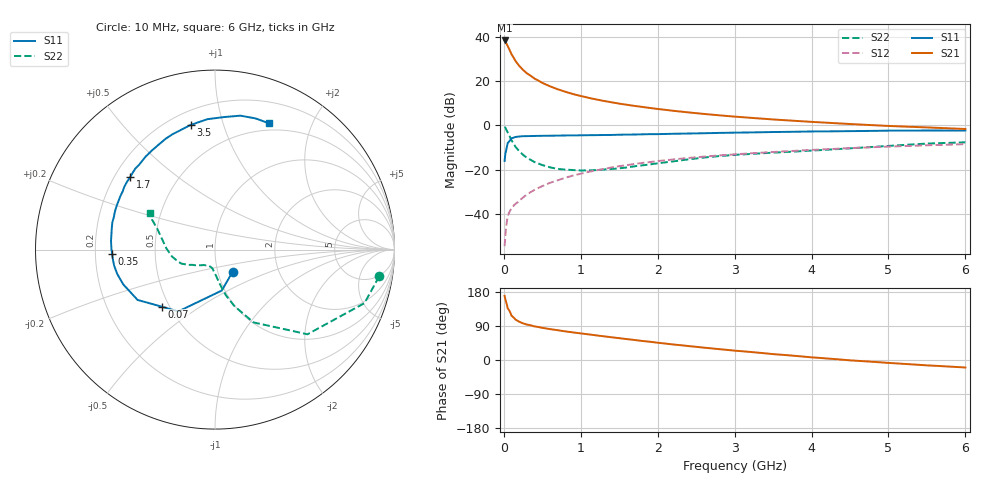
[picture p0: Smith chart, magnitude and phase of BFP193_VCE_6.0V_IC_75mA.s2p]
! Infineon Technologies  Discrete & RF Semiconductors
! BFP193
! VCE =  6.0 V,  IC =  75 mA
! Common Emitter S-Parameters:  Jan 2017
# GHz  S  MA  R  50
!  f  S11  S21  S12  S22
! GHz  MAG  ANG  MAG  ANG  MAG  ANG  MAG  ANG
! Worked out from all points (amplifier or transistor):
!   77 points, 10 MHz to 6 GHz, reference 50 ohm
!   highest |S21| = 38.2 dB at 10 MHz (marker M1)
!   |S21| within 3 dB of that: start of sweep to 57.26 MHz
!   unconditionally stable (mu >= 1): 467.9 MHz to 2.375 GHz
!   at 130 MHz: K = 0.69, MSG = 33.2 dB, |S12| = -36.1 dB
!   at 2.2 GHz: K = 1.01, MAG = 10.4 dB, |S12| = -15.4 dB
!   at 6 GHz: K = 0.92, MSG = 3.4 dB, |S12| = -8.5 dB
!   S11 on the Smith chart (normalised r, x): 10 MHz: 1.18, -0.30; 70 MHz: 0.46, -0.36; 350 MHz: 0.27, -0.02; 1.7 GHz: 0.26, +0.35; 3.5 GHz: 0.28, +0.78; 6 GHz: 0.42, +1.43
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0.01  0.1577 -51.5  81.6 169.3  0.0019 75.6  0.9265 -9.3
0.02  0.2312 -80.6  78.79 159.6  0.0033 77.3  0.8847 -19.7
0.05  0.3999 -120.6  61.2 136.6  0.0089 62.5  0.6985 -42.5
0.07  0.4341 -132.8  51.99 130.6  0.0109 61.8  0.5953 -48.4
0.1  0.5147 -147.0  39.85 116.7  0.0138 61.1  0.4592 -62.1
0.15  0.5466 -159.2  28.36 106.9  0.0169 62.2  0.3321 -71.1
0.2  0.5614 -166.0  21.83 101.0  0.0199 65.0  0.2614 -76.6
0.25  0.5691 -171.0  17.7 96.6  0.0238 66.2  0.2167 -79.9
0.3  0.5716 -174.6  14.83 93.6  0.0276 67.8  0.1851 -83.0
0.35  0.5736 -177.4  13.04 91.4  0.0314 68.8  0.1666 -84.9
0.4  0.5769 179.9  11.27 88.6  0.0353 69.6  0.1484 -87.3
0.5  0.5813 175.3  9.036 84.9  0.0428 70.3  0.1273 -91.4
0.6  0.5834 171.5  7.573 81.5  0.0508 70.2  0.1135 -95.4
0.8  0.5917 165.2  5.701 75.5  0.0662 70.6  0.1009 -101.9
1.1  0.5996 156.2  4.173 67.7  0.0895 67.8  0.097 -112.9
1.7  0.6215 139.6  2.738 52.8  0.1349 60.9  0.1196 -133.1
2.1  0.6395 129.3  2.232 43.4  0.1635 55.8  0.1468 -144.1
3.1  0.6883 108.3  1.526 23.1  0.228 42.9  0.221 -163.9
3.5  0.7074 101.1  1.357 15.5  0.2514 38.4  0.2425 -170.9
4.1  0.7293 91.9  1.171 5.6  0.2847 31.1  0.276 176.5
5.1  0.7598 78.0  0.954 -8.9  0.3364 19.5  0.3527 158.7
6  0.7652 66.9  0.828 -19.8  0.3769 9.3  0.4152 150.3
